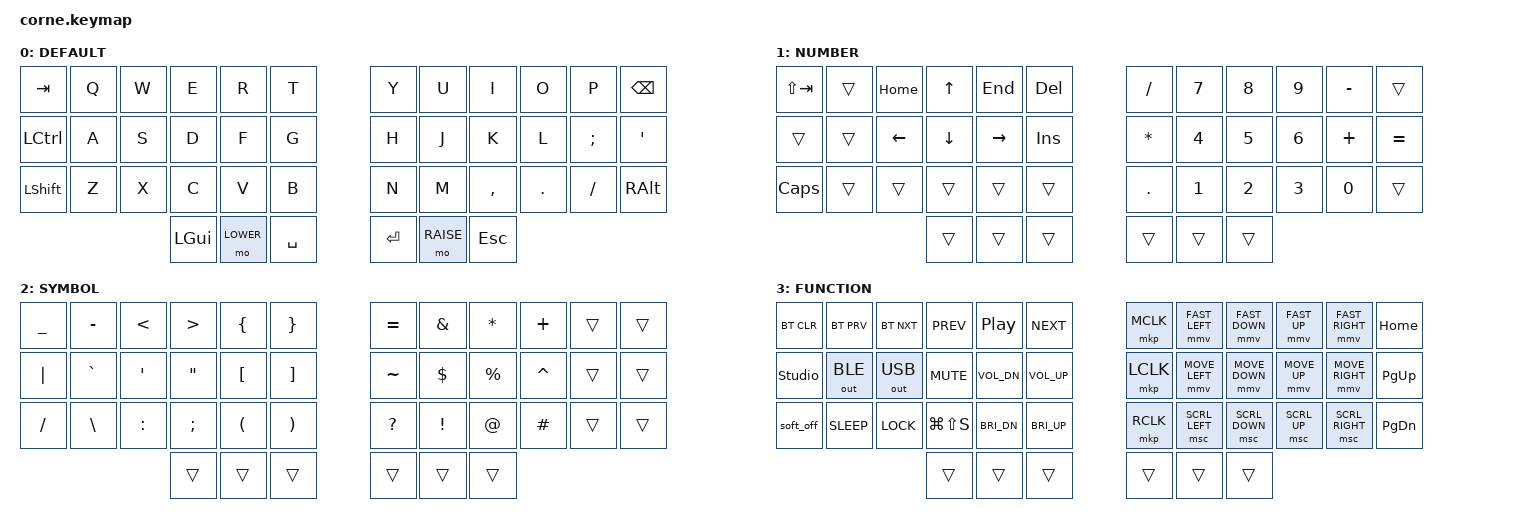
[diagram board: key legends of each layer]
/*
 * Copyright (c) 2020 The ZMK Contributors
 *
 * SPDX-License-Identifier: MIT
 */

#include <behaviors.dtsi>
#include <dt-bindings/zmk/keys.h>
#include <dt-bindings/zmk/bt.h>
#include <dt-bindings/zmk/outputs.h>
#include <dt-bindings/zmk/pointing.h>

#define FAST_UP    MOVE(0, -1200)
#define FAST_DOWN  MOVE(0, 1200)
#define FAST_LEFT  MOVE(-1200, 0)
#define FAST_RIGHT MOVE(1200, 0)

#define BASE    0
#define LOWER   1
#define RAISE   2
#define FN      3

#define SNIP_WIN  LG(LS(S))

/ {
        conditional_layers {
                compatible = "zmk,conditional-layers";
                tri_layer {
                        if-layers = <LOWER RAISE>;
                        then-layer = <FN>;
                };
        };

        keymap {
                compatible = "zmk,keymap";

                default_layer {
                        display-name = "DEFAULT";
// ------------------------------------------------------------------------------------------------
// |  TAB  |   Q   |   W   |   E   |   R   |   T   |   |   Y   |   U   |   I   |   O   |   P   | BSPC |
// |  CTRL |   A   |   S   |   D   |   F   |   G   |   |   H   |   J   |   K   |   L   |   ;   |   '  |
// |  SHFT |   Z   |   X   |   C   |   V   |   B   |   |   N   |   M   |   ,   |   .   |   /   |  ALT |
//                         |  GUI  |  LWR  |  SPC  |   |  ENT  |  RSE  |  ESC  |
                        bindings = <
   &kp TAB    &kp Q     &kp W     &kp E     &kp R     &kp T        &kp Y     &kp U     &kp I     &kp O     &kp P     &kp BSPC
   &kp LCTRL  &kp A     &kp S     &kp D     &kp F     &kp G        &kp H     &kp J     &kp K     &kp L     &kp SEMI  &kp SQT
   &kp LSHFT  &kp Z     &kp X     &kp C     &kp V     &kp B        &kp N     &kp M     &kp COMMA &kp DOT   &kp FSLH  &kp RALT
                                 &kp LGUI  &mo LOWER &kp SPACE    &kp RET   &mo RAISE &kp ESC
                        >;
                };

                lower_layer {
                        display-name = "NUMBER";
// ------------------------------------------------------------------------------------------------
// | S(TAB)|       |  HOME |   ^   |  END  |  DEL  |   |   /   |   7   |   8   |   9   |   -   |      |
// |       |       |   <   |   v   |   >   |  INS  |   |   *   |   4   |   5   |   6   |   +   |   =  |
// |  CAPS |       |       |       |       |       |   |   .   |   1   |   2   |   3   |   0   |      |
//                         |       |       |       |   |       |       |       |
                        bindings = <
   &kp LS(TAB) &trans    &kp HOME  &kp UP    &kp END   &kp DEL      &kp FSLH  &kp N7    &kp N8    &kp N9    &kp MINUS &trans
   &trans      &trans    &kp LEFT  &kp DOWN  &kp RIGHT &kp INS      &kp ASTRK &kp N4    &kp N5    &kp N6    &kp PLUS  &kp EQUAL
   &kp CAPSLOCK &trans   &trans    &trans    &trans    &trans       &kp DOT   &kp N1    &kp N2    &kp N3    &kp N0    &trans
                                   &trans    &trans    &trans       &trans    &trans    &trans
                        >;
                };

                raise_layer {
                        display-name = "SYMBOL";
// ------------------------------------------------------------------------------------------------
// |   _   |   -   |   <   |   >   |   {   |   }   |   |   =   |   &   |   *   |   +   |       |      |
// |   |   |   `   |   '   |   "   |   [   |   ]   |   |   ~   |   $   |   %   |   ^   |       |      |
// |   /   |   \   |   :   |   ;   |   (   |   )   |   |   ?   |   !   |   @   |   #   |       |      |
//                         |       |       |       |   |       |       |       |
                        bindings = <
   &kp UNDER  &kp MINUS &kp LT    &kp GT    &kp LBRC  &kp RBRC     &kp EQUAL &kp AMPS  &kp ASTRK &kp PLUS  &trans    &trans
   &kp PIPE   &kp GRAVE &kp SQT   &kp DQT   &kp LBKT  &kp RBKT     &kp TILDE &kp DLLR  &kp PRCNT &kp CARET &trans    &trans
   &kp FSLH   &kp BSLH  &kp COLON &kp SEMI  &kp LPAR  &kp RPAR     &kp QMARK &kp EXCL  &kp AT    &kp HASH  &trans    &trans
                                 &trans    &trans    &trans       &trans    &trans    &trans
                        >;
                };

                function_layer {
                        display-name = "FUNCTION";
// ------------------------------------------------------------------------------------------------
// | BTCLR | BTPRV | BTNXT | PREV  |  PP   | NEXT  |   | MCLK  |  MLFT |  MDWN |  MUP  |  MRGT | HOME |
// |  STU  |  BLE  |  USB  | MUTE  | VOLDN | VOLUP |   | LCLK  |  MLFT |  MDWN |  MUP  |  MRGT | PGUP |
// |  OFF  | CSLEP | KLOCK |  SNIP | BRIDN | BRIUP |   | RCLK  |  SLFT |  SDWN |  SUP  |  SRGT | PGDN |
//                         |       |       |       |   |       |       |       |
                        bindings = <
   &bt BT_CLR      &bt BT_PRV    &bt BT_NXT    &kp C_PREV    &kp C_PP      &kp C_NEXT         &mkp MCLK  &mmv FAST_LEFT  &mmv FAST_DOWN  &mmv FAST_UP  &mmv FAST_RIGHT  &kp HOME
   &studio_unlock  &out OUT_BLE  &out OUT_USB  &kp C_MUTE    &kp C_VOL_DN  &kp C_VOL_UP       &mkp LCLK  &mmv MOVE_LEFT  &mmv MOVE_DOWN  &mmv MOVE_UP  &mmv MOVE_RIGHT  &kp PG_UP
   &soft_off       &kp C_SLEEP   &kp K_LOCK    &kp SNIP_WIN  &kp C_BRI_DN  &kp C_BRI_UP       &mkp RCLK  &msc SCRL_LEFT  &msc SCRL_DOWN  &msc SCRL_UP  &msc SCRL_RIGHT  &kp PG_DN
                                               &trans        &trans        &trans             &trans     &trans          &trans
                        >;
                };
        };
};
